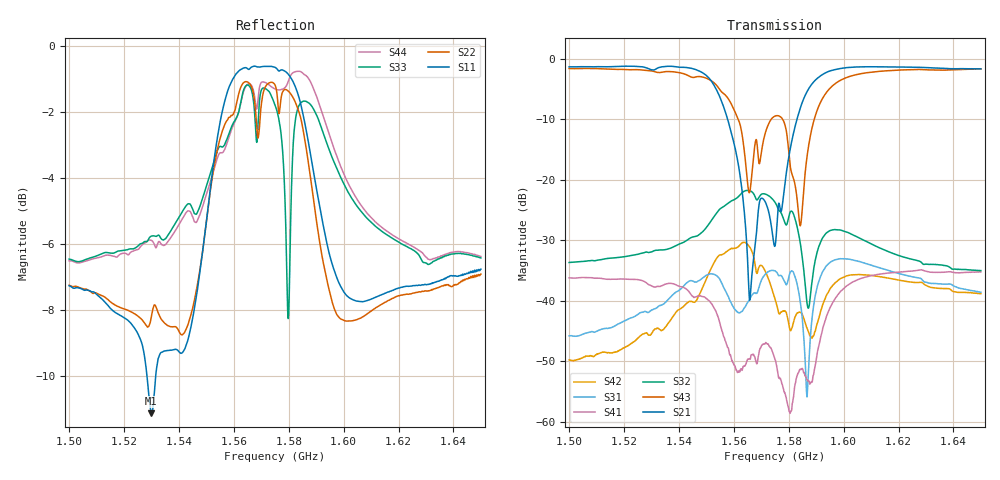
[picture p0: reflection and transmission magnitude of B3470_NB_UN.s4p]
! Matrix data file written by TouchstoneData, EPCOS AG
! FILENAME: "newformat_LZ68A_2_NB.s4p"
! COMMENT: "(LZ68A_2_NB.s4p) EPCOS AG 12.10.2011 14:58:1"
! INFO: nport=4, nfreq=1601
! DATE: "Wed Oct 12 15:07:57 2011"
! USER: "Daniel Harbusch"
! port | pin | signal
!  1  |  4  |  out
!  2  |  3  |  coupling
!  3  |  2  |  coupling
!  4  |  1  |  in
# MHZ S MA R 50
! freq  magS11 angS11  magS12 angS12  magS13 angS13  magS14 angS14  ...
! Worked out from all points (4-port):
!   1601 points, 1.5 GHz to 1.65 GHz, reference 50 ohm
!   strongest paths, dB at 1.5 GHz, 1.538 GHz, 1.575 GHz, 1.613 GHz, 1.65 GHz:
!     S21: -1.3, -1.2, -30.9, -1.3, -1.7
!     S43: -1.6, -2.1, -9.5, -2.1, -1.7
!     S32: -33.7, -31.2, -23.7, -31.1, -35.0
!     S41: -36.2, -37.1, -49.7, -35.6, -35.2
!     S31: -45.8, -39.1, -35.0, -34.4, -38.6
!     S42: -49.8, -42.8, -39.7, -36.0, -38.8
!   lowest |S11| = -11.1 dB at 1.53 GHz (marker M1), VSWR 1.77, Z = 29.2 - j7.6 ohm
!   |S11| at or under -10 dB: 1.528375 GHz to 1.531536 GHz (3.162 MHz wide, 0.207 % of centre)
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1500  0.4335 -121.7  0.8597 -35.9  0.005138 -82.9  0.0155 -9.2
      0.8589 -35.9  0.4342 -129.8  0.02076 119.0  0.003245 -91.6
      0.00514 -82.8  0.02074 119.0  0.4758 -132.8  0.8311 -36.4
      0.01549 -9.2  0.003253 -91.6  0.8317 -36.4  0.4729 -121.6
1529.906  0.2776 -154.4  0.8139 -53.5  0.008324 -137.5  0.01337 -50.5
          0.8137 -53.5  0.3883 -125.1  0.02539 126.8  0.005321 -148.6
          0.008333 -137.5  0.02539 126.8  0.5155 -139.3  0.7953 -48.6
          0.01335 -50.4  0.005325 -148.5  0.7957 -48.5  0.5081 -142.1
1554.375  0.7424 37.1  0.5155 -122.2  0.01567 132.7  0.007227 160.2
          0.5154 -122.1  0.7075 -117.7  0.05569 134.1  0.02347 151.0
          0.01566 132.8  0.05559 134.2  0.7006 -157.6  0.5781 -82.0
          0.007211 160.2  0.02346 151.1  0.5784 -81.9  0.6837 158.3
1566  0.9269 -34.6  0.01102 -61.9  0.01053 147.1  0.003311 103.6
      0.01102 -61.9  0.8757 -157.6  0.08119 91.4  0.02744 49.0
      0.01051 147.1  0.08111 91.4  0.8666 161.8  0.08403 -42.1
      0.003297 103.6  0.02739 49.0  0.08407 -42.1  0.8758 77.1
1584.281  0.8205 -94.7  0.3963 89.9  0.009567 53.6  0.002709 162.7
          0.3961 89.9  0.7817 113.1  0.02931 14.8  0.008018 129.5
          0.00957 53.6  0.02927 14.8  0.8205 69.1  0.04189 18.2
          0.002707 162.9  0.008015 129.6  0.04193 18.3  0.916 -27.6
1590.375  0.5995 -106.2  0.6896 57.9  0.01307 151.2  0.003709 -170.9
          0.6892 57.9  0.5339 56.8  0.02545 103.9  0.006512 145.9
          0.01306 151.2  0.02541 104.0  0.7828 13.3  0.3767 60.1
          0.003704 -171.0  0.006501 145.9  0.3769 60.1  0.8348 -53.6
1650  0.4594 -88.0  0.8273 -8.0  0.01181 27.1  0.01735 60.7
      0.8265 -8.0  0.4515 -98.3  0.01777 73.5  0.01146 33.0
      0.01179 27.2  0.01776 73.6  0.4776 -104.0  0.8251 -10.4
      0.01735 60.9  0.01146 33.0  0.8253 -10.4  0.4801 -92.2
